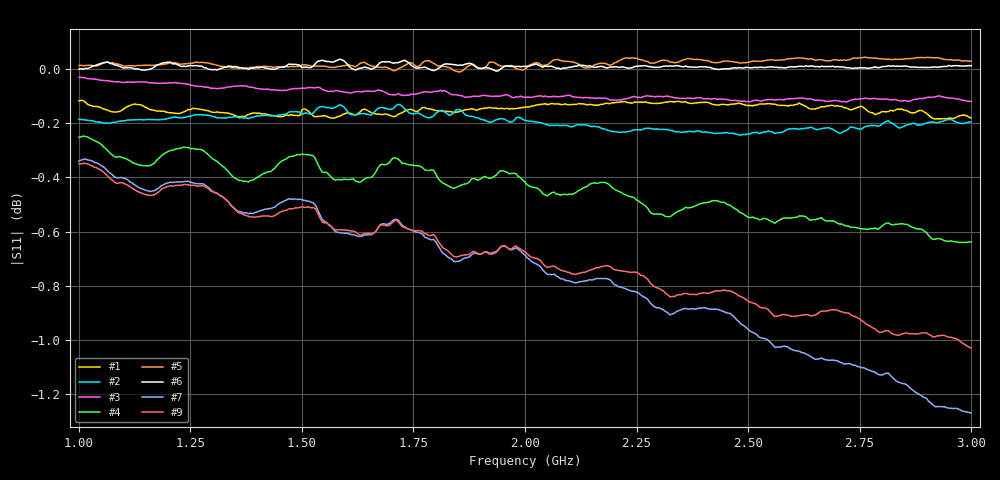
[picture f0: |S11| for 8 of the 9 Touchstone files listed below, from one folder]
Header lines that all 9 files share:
! Ref Plane: 0,000 mm
# MHZ S MA R  50
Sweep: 1 GHz to 3 GHz
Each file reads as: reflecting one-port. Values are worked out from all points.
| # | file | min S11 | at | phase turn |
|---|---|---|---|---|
| 1 | 2adapter_phase.s1p | -0.2 dB | 2.92 GHz | -314 deg |
| 2 | 3adapter_phase.s1p | -0.2 dB | 2.485 GHz | -466 deg |
| 3 | adapter_phase.s1p | -0.1 dB | 2.72 GHz | -160 deg |
| 4 | coupling_full_wave_mag.s1p | -0.6 dB | 2.985 GHz | -3045 deg |
| 5 | ref_cable_only_phase.s1p | 0.0 dB | 1.855 GHz | +112 deg |
| 6 | ref_phase.s1p | 0.0 dB | 1.935 GHz | -5 deg |
| 7 | SN52934P_phase.s1p | -1.3 dB | 3 GHz | -3029 deg |
| 8 | SN52984P_phase.s1p | -0.8 dB | 2.92 GHz | -3019 deg |
| 9 | SN52994P_phase.s1p | -1.0 dB | 3 GHz | -3031 deg |
